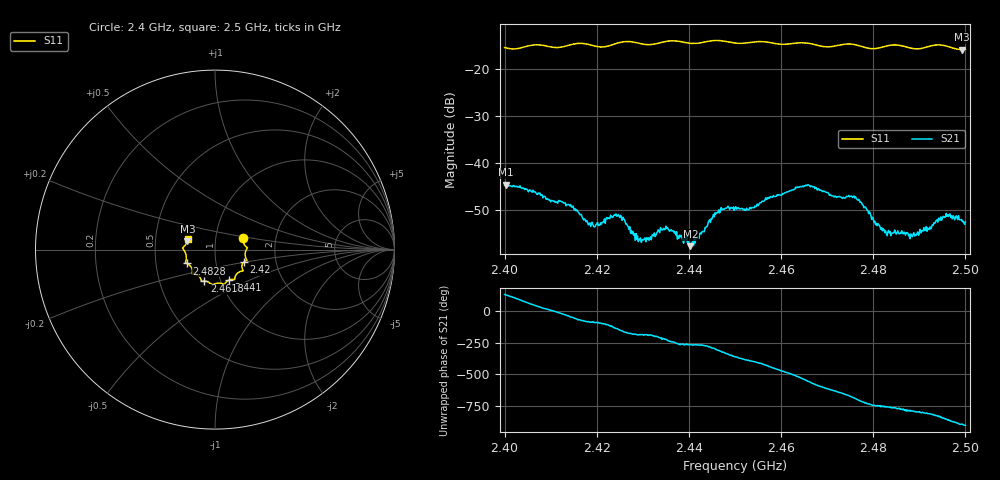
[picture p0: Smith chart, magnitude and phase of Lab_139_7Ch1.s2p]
# Hz S RI R 50
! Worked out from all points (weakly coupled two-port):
!   601 points, 2.4 GHz to 2.5 GHz, reference 50 ohm
!   highest |S21| = -44.54 dB at 2.4003 GHz (marker M1); lowest = -57.6 dB at 2.4403 GHz (marker M2)
!   lowest |S11| = -15.8 dB at 2.4992 GHz (marker M3), VSWR 1.38, Z = 36.5 + j3.65 ohm
!   |S11| at or under -10 dB: start of sweep to end of sweep
!   S12 and S22 are empty: the file has one direction only
!   S11 on the Smith chart (normalised r, x): 2.4 GHz: 1.36, +0.18; 2.42 GHz: 1.36, -0.20; 2.441 GHz: 1.10, -0.39; 2.4618 GHz: 0.84, -0.30; 2.4828 GHz: 0.72, -0.12; 2.5 GHz: 0.73, +0.09
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2.4e9  0.1571 0.0629  -0.00347 0.0047  0 0  0 0
2.400333e9  0.1568 0.0592  -0.00319 0.005  0 0  0 0
2.412667e9  0.1687 -0.0359  0.00342 -0.00173  0 0  0 0
2.416667e9  0.1777 -0.06  0.0006 -0.00277  0 0  0 0
2.42e9  0.1596 -0.0695  -0.000108 -0.00225  0 0  0 0
2.424167e9  0.1523 -0.1076  -0.00221 -0.00186  0 0  0 0
2.4295e9  0.1412 -0.1219  -0.00159 0.000225  0 0  0 0
2.433333e9  0.1122 -0.1508  -0.00174 0.000895  0 0  0 0
2.4355e9  0.1105 -0.1648  -0.00113 0.00166  0 0  0 0
2.440333e9  0.0854 -0.1673  -9.68e-05 0.00131  0 0  0 0
2.441e9  0.0786 -0.1697  -5.48e-05 0.00133  0 0  0 0
2.445667e9  0.0518 -0.1945  0.00154 0.00255  0 0  0 0
2.45e9  0.0286 -0.187  0.00337 -0.000117  0 0  0 0
2.461833e9  -0.0591 -0.1757  -0.00342 -0.00372  0 0  0 0
2.466667e9  -0.0775 -0.1681  -0.00497 0.00274  0 0  0 0
2.476333e9  -0.1259 -0.129  0.00377 0.0019  0 0  0 0
2.482833e9  -0.1577 -0.0774  0.00145 -0.00108  0 0  0 0
2.483333e9  -0.1607 -0.0762  0.00154 -0.00116  0 0  0 0
2.4895e9  -0.1611 -0.0301  0.000462 -0.00173  0 0  0 0
2.496167e9  -0.1733 0.0164  -0.00211 -0.0019  0 0  0 0
2.499167e9  -0.1538 0.0486  -0.00248 -0.000451  0 0  0 0
2.5e9  -0.1517 0.0607  -0.00239 -6.55e-05  0 0  0 0
